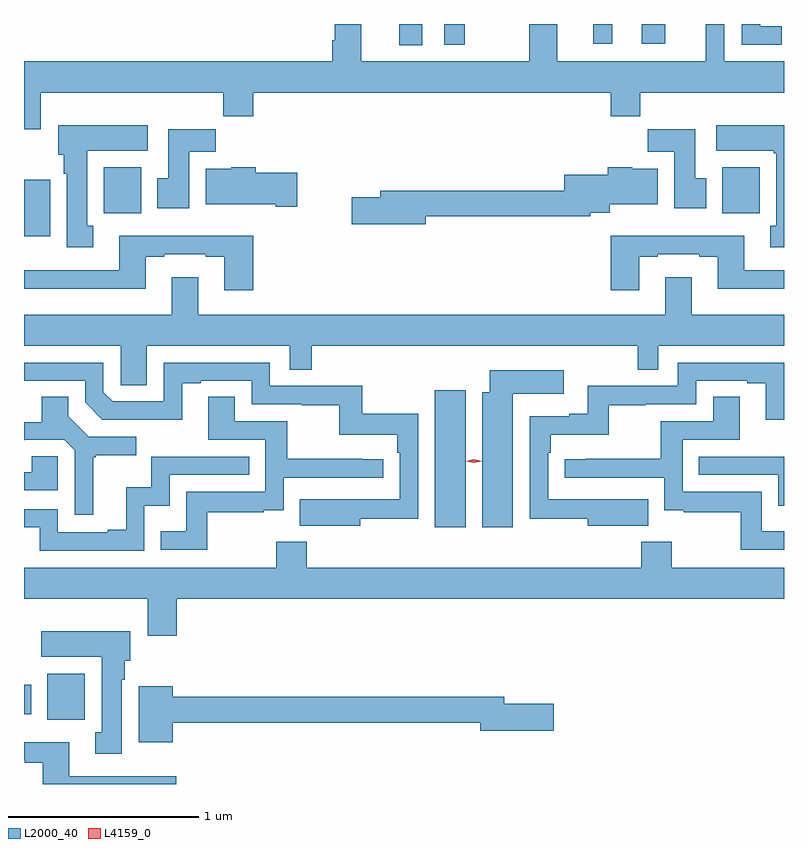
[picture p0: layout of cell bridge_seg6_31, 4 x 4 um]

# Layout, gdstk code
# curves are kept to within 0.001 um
import gdstk
lib = gdstk.Library(unit=1e-6, precision=1e-09)
def R(c, l, rs):  # rectangles x0, y0, x1, y1
    for r in rs: c.add(gdstk.rectangle(r[:2], r[2:], *l))
def P(c, l, *ps):  # polygons
    for p in ps: c.add(gdstk.Polygon(p, *l))
L2000_40 = (2000, 40)
L4159_0 = (4159, 0)

bridge_seg6_31 = lib.new_cell('bridge_seg6_31')
R(bridge_seg6_31, L2000_40, [(1071.269,922.724,1071.466,922.966), (1071.146,922.752,1071.184,922.908), (1073.309,923.736,1073.47,924.457), (1071.146,925.268,1071.283,925.564), (1071.566,925.388,1071.763,925.63), (1074.821,925.388,1075.018,925.63), (1073.12,926.273,1073.242,926.385), (1073.358,926.277,1073.467,926.385), (1074.143,926.28,1074.241,926.385), (1074.396,926.28,1074.52,926.385)])
P(bridge_seg6_31, L2000_40, [(1075.133,926.373),(1075.02,926.373),(1075.02,926.385),(1074.924,926.385),(1074.924,926.277),(1075.133,926.277)],
  [(1071.235,926.024),(1072.195,926.024),(1072.195,925.9),(1072.352,925.9),(1072.352,926.024),(1074.233,926.024),(1074.233,925.9),(1074.389,925.9),(1074.389,926.024),(1075.146,926.024),(1075.146,926.188),(1074.831,926.188),(1074.831,926.385),(1074.734,926.385),(1074.734,926.188),(1073.953,926.188),(1073.953,926.385),(1073.806,926.385),(1073.806,926.188),(1072.921,926.188),(1072.921,926.385),(1072.781,926.385),(1072.781,926.3),(1072.769,926.3),(1072.769,926.188),(1071.146,926.188),(1071.146,925.83),(1071.235,925.83)],
  [(1075.146,925.852),(1074.789,925.852),(1074.789,925.718),(1075.093,925.718),(1075.093,925.705),(1075.106,925.705),(1075.106,925.322),(1075.073,925.322),(1075.073,925.209),(1075.146,925.209)],
  [(1071.511,925.322),(1071.478,925.322),(1071.478,925.718),(1071.796,925.718),(1071.796,925.852),(1071.326,925.852),(1071.326,925.698),(1071.356,925.698),(1071.356,925.598),(1071.371,925.598),(1071.371,925.209),(1071.511,925.209)],
  [(1072.015,925.712),(1072.154,925.712),(1072.154,925.831),(1071.905,925.831),(1071.905,925.572),(1071.848,925.572),(1071.848,925.416),(1072.015,925.416)],
  [(1074.736,925.572),(1074.679,925.572),(1074.679,925.831),(1074.43,925.831),(1074.43,925.712),(1074.569,925.712),(1074.569,925.416),(1074.736,925.416)],
  [(1073.26,925.372),(1074.125,925.372),(1074.125,925.391),(1074.229,925.391),(1074.229,925.436),(1074.481,925.436),(1074.481,925.624),(1074.348,925.624),(1074.348,925.63),(1074.218,925.63),(1074.218,925.591),(1073.99,925.591),(1073.99,925.508),(1073.021,925.508),(1073.021,925.472),(1072.872,925.472),(1072.872,925.33),(1073.26,925.33)],
  [(1072.585,925.602),(1072.367,925.602),(1072.367,925.63),(1072.236,925.63),(1072.236,925.624),(1072.103,925.624),(1072.103,925.436),(1072.472,925.436),(1072.472,925.424),(1072.585,925.424)],
  [(1074.385,925.161),(1074.481,925.161),(1074.481,925.173),(1074.701,925.173),(1074.701,925.161),(1074.797,925.161),(1074.797,924.992),(1075.146,924.992),(1075.146,925.089),(1074.937,925.089),(1074.937,925.27),(1074.233,925.27),(1074.233,924.984),(1074.385,924.984)],
  [(1072.352,925.27),(1071.647,925.27),(1071.647,925.089),(1071.146,925.089),(1071.146,924.992),(1071.787,924.992),(1071.787,925.161),(1071.883,925.161),(1071.883,925.173),(1072.103,925.173),(1072.103,925.161),(1072.199,925.161),(1072.199,924.984),(1072.352,924.984)],
  [(1071.793,924.692),(1072.545,924.692),(1072.545,924.565),(1072.661,924.565),(1072.661,924.692),(1074.375,924.692),(1074.375,924.565),(1074.483,924.565),(1074.483,924.692),(1075.146,924.692),(1075.146,924.856),(1074.661,924.856),(1074.661,925.051),(1074.521,925.051),(1074.521,924.856),(1072.063,924.856),(1072.063,925.051),(1071.923,925.051),(1071.923,924.856),(1071.146,924.856),(1071.146,924.692),(1071.654,924.692),(1071.654,924.484),(1071.793,924.484)],
  [(1074.431,923.884),(1074.217,923.884),(1074.217,923.883),(1073.904,923.883),(1073.904,924.128),(1073.918,924.128),(1073.918,924.224),(1074.223,924.224),(1074.223,924.379),(1074.419,924.379),(1074.419,924.384),(1074.684,924.384),(1074.684,924.507),(1074.953,924.507),(1074.953,924.495),(1075.049,924.495),(1075.049,924.302),(1075.146,924.302),(1075.146,924.603),(1074.588,924.603),(1074.588,924.48),(1074.114,924.48),(1074.114,924.334),(1074.017,924.334),(1074.017,924.321),(1073.808,924.321),(1073.808,923.782),(1074.113,923.782),(1074.113,923.744),(1074.431,923.744)],
  [(1072.915,923.782),(1073.22,923.782),(1073.22,924.334),(1072.927,924.334),(1072.927,924.48),(1072.44,924.48),(1072.44,924.603),(1071.882,924.603),(1071.882,924.399),(1071.612,924.399),(1071.564,924.447),(1071.564,924.603),(1071.146,924.603),(1071.146,924.507),(1071.468,924.507),(1071.468,924.393),(1071.558,924.303),(1071.979,924.302),(1071.979,924.495),(1072.075,924.495),(1072.075,924.507),(1072.344,924.507),(1072.344,924.384),(1072.609,924.384),(1072.609,924.379),(1072.806,924.379),(1072.806,924.224),(1073.111,924.224),(1073.111,924.128),(1073.124,924.128),(1073.124,923.883),(1072.597,923.884),(1072.597,923.744),(1072.915,923.744)],
  [(1073.719,924.44),(1073.986,924.44),(1073.986,924.562),(1073.597,924.562),(1073.597,924.448),(1073.558,924.448),(1073.558,923.736),(1073.719,923.736)],
  [(1072.111,923.814),(1072.409,923.814),(1072.409,923.825),(1072.512,923.825),(1072.512,923.997),(1073.038,923.997),(1073.038,924.093),(1072.925,924.093),(1072.925,924.098),(1072.532,924.098),(1072.532,924.294),(1072.255,924.294),(1072.255,924.422),(1072.115,924.422),(1072.115,924.198),(1072.416,924.198),(1072.416,923.922),(1072,923.922),(1072,923.716),(1071.865,923.716),(1071.865,923.619),(1072.111,923.619)],
  [(1075.146,923.716),(1075.029,923.716),(1075.029,923.922),(1074.612,923.922),(1074.612,924.198),(1074.913,924.198),(1074.913,924.422),(1074.773,924.422),(1074.773,924.294),(1074.496,924.294),(1074.496,924.098),(1074.103,924.098),(1074.103,924.093),(1073.991,924.093),(1073.991,923.997),(1074.516,923.997),(1074.516,923.825),(1074.619,923.825),(1074.619,923.814),(1074.918,923.814),(1074.918,923.619),(1075.146,923.619)],
  [(1071.511,924.105),(1071.523,924.105),(1071.523,924.116),(1071.736,924.116),(1071.736,924.213),(1071.486,924.213),(1071.379,924.32),(1071.379,924.422),(1071.239,924.422),(1071.239,924.29),(1071.146,924.29),(1071.146,924.193),(1071.151,924.198),(1071.357,924.198),(1071.414,924.141),(1071.414,923.802),(1071.511,923.802)],
  [(1071.324,924.111),(1071.187,924.111),(1071.187,924.027),(1071.146,924.027),(1071.146,923.931),(1071.324,923.931)],
  [(1071.78,923.849),(1071.912,923.849),(1071.912,924.012),(1072.331,924.012),(1072.331,924.108),(1071.816,924.108),(1071.816,923.947),(1071.683,923.947),(1071.683,923.722),(1071.587,923.722),(1071.587,923.709),(1071.324,923.709),(1071.324,923.832),(1071.146,923.832),(1071.146,923.736),(1071.228,923.736),(1071.228,923.613),(1071.78,923.613)],
  [(1075.146,924.108),(1074.697,924.108),(1074.697,924.012),(1075.116,924.012),(1075.116,923.849),(1075.146,923.849)],
  [(1071.95,923.36),(1075.146,923.36),(1075.146,923.524),(1074.555,923.524),(1074.555,923.659),(1074.395,923.659),(1074.395,923.524),(1072.634,923.524),(1072.634,923.659),(1072.474,923.659),(1072.474,923.524),(1071.146,923.524),(1071.146,923.36),(1071.797,923.36),(1071.797,923.166),(1071.95,923.166)],
  [(1071.661,922.934),(1071.676,922.934),(1071.676,923.034),(1071.706,923.034),(1071.706,923.188),(1071.237,923.188),(1071.237,923.054),(1071.554,923.054),(1071.554,922.658),(1071.521,922.658),(1071.521,922.545),(1071.661,922.545)],
  [(1071.928,922.708),(1073.546,922.708),(1073.546,922.666),(1073.935,922.666),(1073.935,922.808),(1073.674,922.808),(1073.674,922.844),(1071.928,922.844),(1071.928,922.9),(1071.749,922.9),(1071.749,922.604),(1071.928,922.604)],
  [(1071.946,922.425),(1071.385,922.425),(1071.385,922.606),(1071.146,922.606),(1071.146,922.509),(1071.149,922.509),(1071.149,922.497),(1071.245,922.497),(1071.245,922.385),(1071.946,922.385)])
P(bridge_seg6_31, L4159_0, [(1073.514,924.075),(1073.474,924.085),(1073.474,924.085),(1073.474,924.085),(1073.514,924.095),(1073.554,924.085),(1073.554,924.085),(1073.554,924.085)])

lib.write_gds('bridge_seg6_31.gds')
